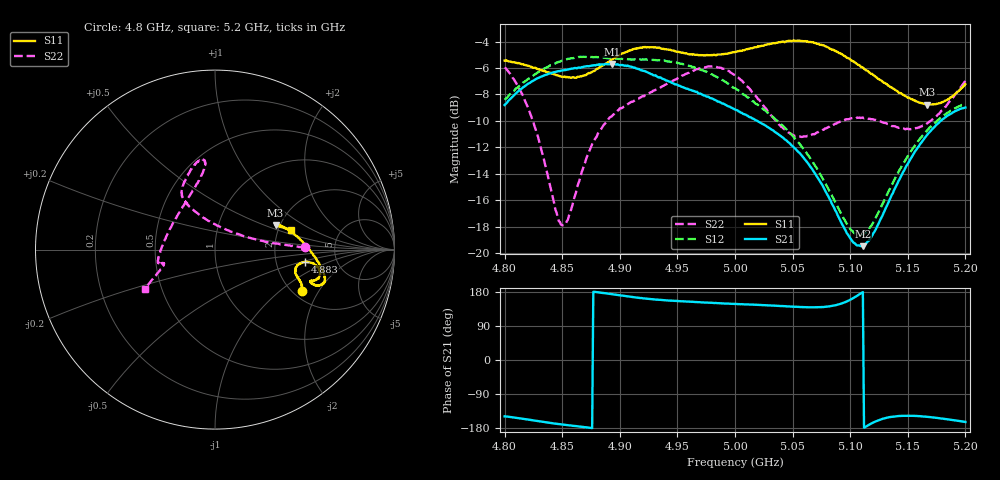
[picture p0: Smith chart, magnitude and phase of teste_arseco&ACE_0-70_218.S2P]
! Network Analyzer HP8722D
! Hewlett-Packard
! Data name: Linha & Wilkinson
! Saver's name: Rodrigo Anjos
! Comments: Teste da utilização de aquisição
! continua pelo VNA HP8722D
! Time and date: 8/5/2025 14:34
!  Frequency  S11  S21  S12  S22
# HZ  S  MA R 50
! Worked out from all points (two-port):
!   401 points, 4.8 GHz to 5.2 GHz, reference 50 ohm
!   highest |S21| = -5.69 dB at 4.893 GHz (marker M1); lowest = -19.5 dB at 5.111 GHz (marker M2)
!   |S21| within 3 dB of the highest: 4.801 GHz to 4.989 GHz (187.7 MHz wide, 3.84 % of centre)
!   lowest |S11| = -8.8 dB at 5.167 GHz (marker M3), VSWR 2.15, Z = 94.7 + j30.1 ohm
!   |S11| at or under -10 dB: nowhere
!   |S22| runs from -17.9 to -5.9 dB; largest |S21 - S12| = 1.1
!   S11 on the Smith chart (normalised r, x): 4.8 GHz: 2.23, -1.44; 4.883 GHz: 2.94, -0.54; 5.2 GHz: 2.33, +0.64
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4.8e9  0.5349 -25.4  0.3631 -148.6  0.38 10.9  0.5027 1.5
4.811e9  0.523 -22.8  0.4066 -153.2  0.4221 9.2  0.4318 2.8
4.823e9  0.5066 -20.6  0.4443 -158.5  0.4641 7.5  0.3301 6.0
4.845e9  0.4711 -16.9  0.4858 -168.2  0.5251 4.2  0.1425 41.1
4.849e9  0.4654 -16.1  0.49 -169.8  0.5323 3.3  0.1281 57.9
4.855e9  0.4621 -14.5  0.4948 -172.1  0.543 2.2  0.1342 85.0
4.867e9  0.4666 -10.8  0.5051 -176.4  0.5518 0.6  0.2031 112.4
4.883e9  0.5063 -7.7  0.5147 177.8  0.5494 -0.7  0.2913 121.2
4.893e9  0.5395 -7.7  0.5193 173.7  0.5458 -0.6  0.3292 122.1
4.913e9  0.5933 -10.9  0.5034 165.5  0.5405 -0.4  0.3783 119.3
4.934e9  0.5994 -15.6  0.461 158.8  0.5367 -1.2  0.4203 113.1
4.975e9  0.5608 -18.4  0.3913 151.5  0.486 -5.0  0.5056 99.6
5e9  0.5763 -19.1  0.349 147.9  0.4205 -4.8  0.4714 96.9
5.044e9  0.631 -17.4  0.2682 141.7  0.2955 3.0  0.2914 131.3
5.067e9  0.6264 -13.3  0.2079 139.0  0.2234 9.5  0.2811 164.4
5.099e9  0.5443 -2.4  0.1159 157.3  0.1256 38.7  0.3211 -170.1
5.111e9  0.5031 3.3  0.1063 179.1  0.1177 62.7  0.3255 -166.9
5.12e9  0.4719 7.9  0.1187 -165.0  0.1307 79.5  0.3204 -166.1
5.134e9  0.4279 14.5  0.1583 -150.8  0.1735 94.8  0.3059 -165.8
5.167e9  0.3647 22.2  0.2802 -150.0  0.2919 102.7  0.3101 -161.5
5.183e9  0.3776 20.1  0.3272 -155.9  0.3355 102.7  0.3582 -156.6
5.2e9  0.4355 14.8  0.3554 -163.4  0.3681 103.1  0.4474 -150.5
